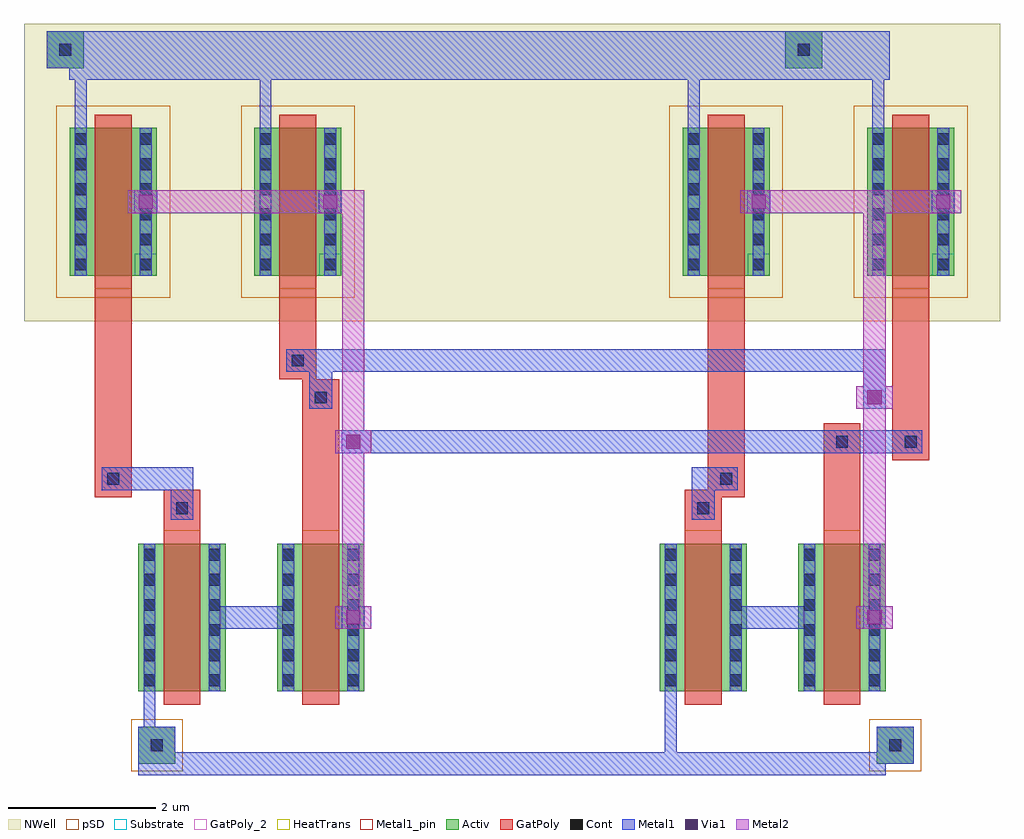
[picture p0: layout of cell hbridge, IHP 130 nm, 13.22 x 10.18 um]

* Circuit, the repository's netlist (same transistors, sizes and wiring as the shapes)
.subckt hbridge n1_mid n2_mid lat_q lat_qb comp_outp comp_outn gnd vdd
MMn1a n1_mid comp_outp gnd gnd sg13_lv_nmos w=2u l=0.5u ng=1 m=1
MMn1b lat_q lat_qb n1_mid gnd sg13_lv_nmos w=2u l=0.5u ng=1 m=1
MMn2a n2_mid comp_outn gnd gnd sg13_lv_nmos w=2u l=0.5u ng=1 m=1
MMn2b lat_qb lat_q n2_mid gnd sg13_lv_nmos w=2u l=0.5u ng=1 m=1
MMp1a lat_q comp_outp vdd vdd sg13_lv_pmos w=2u l=0.5u ng=1 m=1
MMp1b lat_q lat_qb vdd vdd sg13_lv_pmos w=2u l=0.5u ng=1 m=1
MMp2a lat_qb comp_outn vdd vdd sg13_lv_pmos w=2u l=0.5u ng=1 m=1
MMp2b lat_qb lat_q vdd vdd sg13_lv_pmos w=2u l=0.5u ng=1 m=1
.ends hbridge

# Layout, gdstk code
import gdstk
lib = gdstk.Library(unit=1e-6, precision=1e-09)
def R(c, l, rs):  # rectangles x0, y0, x1, y1
    for r in rs: c.add(gdstk.rectangle(r[:2], r[2:], *l))
def A(c, l, x, y, w, h, nx, ny, dx, dy):  # array of equal rectangles
    R(c, l, [(x+i*dx, y+j*dy, x+i*dx+w, y+j*dy+h) for i in range(nx) for j in range(ny)])
Activ = (1, 0)
GatPoly = (5, 0)
GatPoly_2 = (5, 2)
Cont = (6, 0)
Metal1 = (8, 0)
Metal1_pin = (8, 2)
Metal2 = (10, 0)
pSD = (14, 0)
Via1 = (19, 0)
NWell = (31, 0)
Substrate = (40, 0)
HeatTrans = (51, 0)

nmos = lib.new_cell('nmos')
R(nmos, Activ, [(0,0,0.3,0.3), (0,0,1.18,2), (0.88,0,1.18,0.3)])
R(nmos, GatPoly, [(0.34,-0.18,0.84,2.18)])
R(nmos, GatPoly_2, [(0.34,-0.18,0.84,2.18)])
A(nmos, Cont, 0.07, 0.07, 0.16, 0.16, 1, 6, 0, 0.34)
A(nmos, Cont, 0.95, 0.07, 0.16, 0.16, 1, 6, 0, 0.34)
R(nmos, Metal1, [(0.07,0,0.23,2), (0.95,0,1.11,2)])
R(nmos, Metal1_pin, [(0.07,0,0.23,2), (0.95,0,1.11,2)])
R(nmos, HeatTrans, [(0.34,-0.18,0.84,2.18)])
nmos.add(gdstk.Label('nmos', (0.59,1), layer=63, texttype=0))
nmos.add(gdstk.Label('nmos', (0.59,1), layer=51, texttype=0))

pmos = lib.new_cell('pmos')
R(pmos, Activ, [(0,0,0.3,0.3), (0,0,1.18,2), (0.88,0,1.18,0.3)])
R(pmos, GatPoly, [(0.34,-0.18,0.84,2.18), (0.34,-0.18,0.84,2.18)])
A(pmos, Cont, 0.07, 0.07, 0.16, 0.16, 1, 6, 0, 0.34)
A(pmos, Cont, 0.95, 0.07, 0.16, 0.16, 1, 6, 0, 0.34)
R(pmos, Metal1, [(0.07,0,0.23,2), (0.07,0,0.23,2), (0.95,0,1.11,2), (0.95,0,1.11,2)])
R(pmos, pSD, [(-0.18,-0.3,1.36,2.3)])
R(pmos, NWell, [(-0.31,-0.31,1.49,2.31)])
R(pmos, Substrate, [(0.88,0,1.18,0.3)])
R(pmos, HeatTrans, [(0.34,-0.18,0.84,2.18)])
pmos.add(gdstk.Label('pmos', (0.59,1), layer=63, texttype=0))
pmos.add(gdstk.Label('pmos', (0.59,1), layer=51, texttype=0))

hbridge = lib.new_cell('hbridge')
R(hbridge, Activ, [(1.24,-0.8,1.74,-0.3), (11.24,-0.8,11.74,-0.3), (0,8.62,0.5,9.12), (10,8.62,10.5,9.12)])
R(hbridge, GatPoly, [(1.58,2.36,2.08,2.91), (3.46,2.36,3.96,4.41), (8.64,2.36,9.14,2.91), (10.52,2.36,11.02,3.81), (0.65,2.81,1.15,5.63), (8.95,2.81,9.45,5.63), (11.45,3.31,11.95,5.63), (3.15,4.41,3.65,5.63)])
R(hbridge, Cont, [(1.41,-0.63,1.57,-0.47), (11.41,-0.63,11.57,-0.47), (1.75,2.58,1.91,2.74), (8.81,2.58,8.97,2.74), (0.82,2.98,0.98,3.14), (9.12,2.98,9.28,3.14), (10.69,3.48,10.85,3.64), (11.62,3.48,11.78,3.64), (3.63,4.08,3.79,4.24), (3.32,4.58,3.48,4.74), (0.17,8.79,0.33,8.95), (10.17,8.79,10.33,8.95)])
R(hbridge, Metal1, [(1.24,-0.955,11.36,-0.645), (1.24,-0.8,1.74,-0.3), (1.31,-0.8,1.47,0.18), (8.37,-0.8,8.53,0.18), (11.24,-0.8,11.74,-0.3), (2.19,1.025,3.35,1.335), (3.995,1.025,4.305,1.335), (9.25,1.025,10.41,1.335), (11.055,1.025,11.365,1.335), (1.675,2.505,1.985,2.815), (1.675,2.505,1.985,3.215), (8.735,2.505,9.045,2.815), (8.735,2.505,9.045,3.215), (0.745,2.905,1.055,3.215), (0.745,2.905,1.985,3.215), (8.735,2.905,9.355,3.215), (9.045,2.905,9.355,3.215), (3.995,3.405,4.305,3.715), (3.995,3.405,11.855,3.715), (10.615,3.405,10.925,3.715), (11.545,3.405,11.855,3.715), (3.555,4.005,3.865,4.315), (3.555,4.005,3.865,4.815), (11.055,4.005,11.365,4.315), (11.055,4.005,11.365,4.815), (3.245,4.505,3.555,4.815), (3.245,4.505,11.365,4.815), (1.185,6.655,1.495,6.965), (3.685,6.655,3.995,6.965), (9.485,6.655,9.795,6.965), (11.985,6.655,12.295,6.965), (0.38,7.81,0.54,8.465), (2.88,7.81,3.04,8.465), (8.68,7.81,8.84,8.465), (11.18,7.81,11.34,8.465), (0.305,8.465,11.415,9.12), (0,8.62,0.5,9.12), (10,8.62,10.5,9.12)])
R(hbridge, Metal2, [(3.905,1.025,4.395,1.335), (4,1.025,4.3,6.965), (4,1.025,4.3,3.715), (10.965,1.025,11.455,1.335), (11.06,1.025,11.36,6.965), (11.06,1.025,11.36,4.315), (3.905,3.405,4.395,3.715), (10.965,4.005,11.455,4.315), (1.095,6.655,1.585,6.965), (1.19,6.655,4.3,6.965), (3.595,6.655,4.085,6.965), (9.395,6.655,9.885,6.965), (9.49,6.655,12.29,6.965), (11.895,6.655,12.385,6.965)])
R(hbridge, pSD, [(1.14,-0.9,1.84,-0.2), (11.14,-0.9,11.84,-0.2)])
R(hbridge, Via1, [(4.055,1.085,4.245,1.275), (11.115,1.085,11.305,1.275), (4.055,3.465,4.245,3.655), (11.115,4.065,11.305,4.255), (1.245,6.715,1.435,6.905), (3.745,6.715,3.935,6.905), (9.545,6.715,9.735,6.905), (12.045,6.715,12.235,6.905)])
R(hbridge, NWell, [(-0.31,5.19,12.91,9.22)])
hbridge.add(gdstk.Reference(nmos, (1.24,0.18)))
hbridge.add(gdstk.Reference(nmos, (3.12,0.18)))
hbridge.add(gdstk.Reference(nmos, (8.3,0.18)))
hbridge.add(gdstk.Reference(nmos, (10.18,0.18)))
hbridge.add(gdstk.Reference(pmos, (0.31,5.81)))
hbridge.add(gdstk.Reference(pmos, (2.81,5.81)))
hbridge.add(gdstk.Reference(pmos, (8.61,5.81)))
hbridge.add(gdstk.Reference(pmos, (11.11,5.81)))

lib.write_gds('hbridge.gds')
